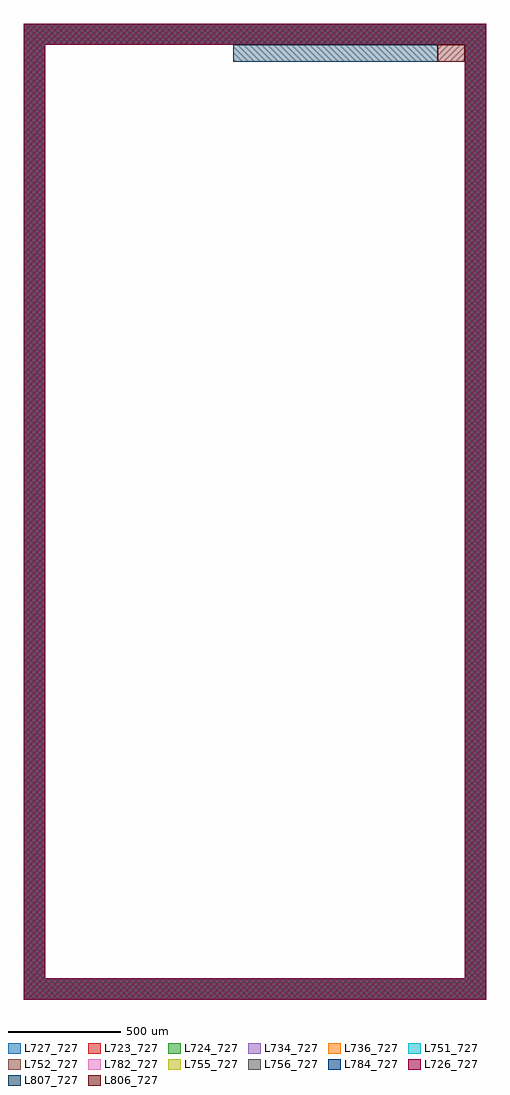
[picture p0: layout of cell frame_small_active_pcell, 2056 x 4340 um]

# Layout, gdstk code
import gdstk
lib = gdstk.Library(unit=1e-6, precision=1e-09)
def R(c, l, rs):  # rectangles x0, y0, x1, y1
    for r in rs: c.add(gdstk.rectangle(r[:2], r[2:], *l))
L723_727 = (723, 727)
L724_727 = (724, 727)
L726_727 = (726, 727)
L727_727 = (727, 727)
L734_727 = (734, 727)
L736_727 = (736, 727)
L751_727 = (751, 727)
L752_727 = (752, 727)
L755_727 = (755, 727)
L756_727 = (756, 727)
L782_727 = (782, 727)
L784_727 = (784, 727)
L806_727 = (806, 727)
L807_727 = (807, 727)

frame_small_active_pcell = lib.new_cell('frame_small_active_pcell')
R(frame_small_active_pcell, L723_727, [(-95,-95,0,4245), (-95,-95,1961,0), (1866,-95,1961,4245), (-95,4150,1961,4245)])
R(frame_small_active_pcell, L724_727, [(-95,-95,0,4245), (-95,-95,1961,0), (1866,-95,1961,4245), (-95,4150,1961,4245)])
R(frame_small_active_pcell, L726_727, [(-95,-95,0,4245), (-95,-95,1961,0), (1866,-95,1961,4245), (-45,4150,1961,4245)])
R(frame_small_active_pcell, L727_727, [(-95,-95,0,4245), (-95,-95,1961,0), (1866,-95,1961,4245), (-95,4150,1961,4245)])
R(frame_small_active_pcell, L734_727, [(-95,-95,0,4245), (-95,-95,1961,0), (1866,-95,1961,4245), (-95,4150,1961,4245)])
R(frame_small_active_pcell, L736_727, [(-95,-95,0,4245), (-95,-95,1961,0), (1866,-95,1961,4245), (-95,4150,1961,4245)])
R(frame_small_active_pcell, L751_727, [(-95,-95,0,4245), (-95,-95,1961,0), (1866,-95,1961,4245), (-95,4150,1961,4245)])
R(frame_small_active_pcell, L752_727, [(-95,-95,0,4245), (-95,-95,1961,0), (1866,-95,1961,4245), (-95,4150,1961,4245)])
R(frame_small_active_pcell, L755_727, [(-95,-95,0,4245), (-95,-95,1961,0), (1866,-95,1961,4245), (-95,4150,1961,4245)])
R(frame_small_active_pcell, L756_727, [(-95,-95,0,4245), (-95,-95,1961,0), (1866,-95,1961,4245), (-95,4150,1961,4245)])
R(frame_small_active_pcell, L782_727, [(-95,-95,0,4245), (-95,-95,1961,0), (1866,-95,1961,4245), (-95,4150,1961,4245)])
R(frame_small_active_pcell, L784_727, [(-95,-95,0,4245), (-95,-95,1961,0), (1866,-95,1961,4245), (-95,4150,1961,4245)])
R(frame_small_active_pcell, L806_727, [(1746,4075,1866,4150)])
R(frame_small_active_pcell, L807_727, [(836,4075,1746,4150)])

lib.write_gds('frame_small_active_pcell.gds')
